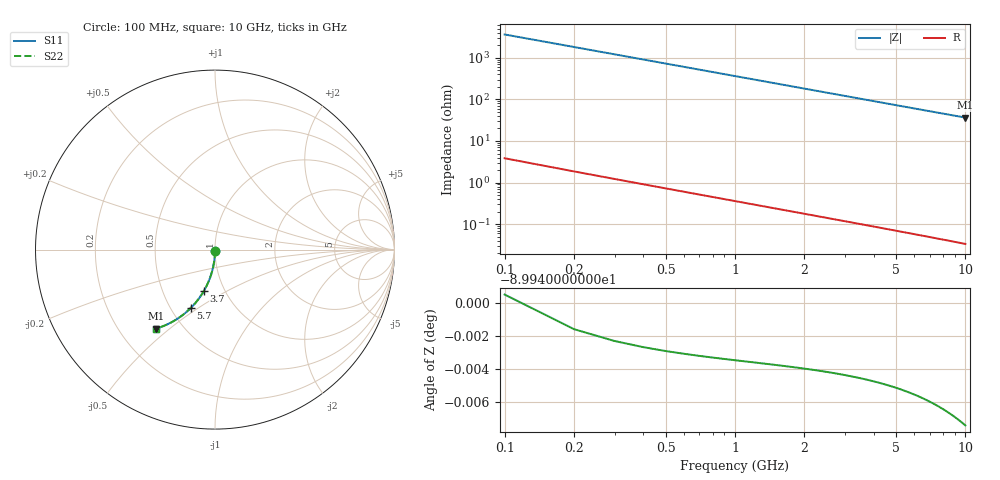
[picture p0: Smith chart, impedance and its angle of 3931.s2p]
# Hz S RI R 50.00
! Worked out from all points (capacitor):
!   100 points, 100 MHz to 10 GHz, reference 50 ohm
!   read as one part in shunt: C = 437 fF near 100 MHz
!   lowest |Z| = 36.5 ohm at 10 GHz (marker M1)
!   S11 on the Smith chart (normalised r, x): 100 MHz: 1.00, -0.01; 3.7 GHz: 0.80, -0.39; 5.7 GHz: 0.63, -0.47; 10 GHz: 0.36, -0.45
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1e8  4.88e-05 -0.00658  0.9998 -0.00715  0.9998 -0.00715  4.88e-05 -0.00658
2e8  -9.82e-05 -0.0132  0.9997 -0.0143  0.9997 -0.0143  -9.82e-05 -0.0132
3e8  -0.000339 -0.0197  0.9995 -0.0214  0.9995 -0.0214  -0.000339 -0.0197
4e8  -0.000674 -0.0263  0.9991 -0.0286  0.9991 -0.0286  -0.000674 -0.0263
5e8  -0.0011 -0.0328  0.9987 -0.0357  0.9987 -0.0357  -0.0011 -0.0328
6e8  -0.00163 -0.0394  0.9982 -0.0428  0.9982 -0.0428  -0.00163 -0.0394
8e8  -0.00295 -0.0525  0.9968 -0.057  0.9968 -0.057  -0.00295 -0.0525
9e8  -0.00375 -0.059  0.996 -0.0641  0.996 -0.0641  -0.00375 -0.059
1.1e9  -0.00563 -0.0719  0.9941 -0.0782  0.9941 -0.0782  -0.00563 -0.0719
1.4e9  -0.00913 -0.0913  0.9906 -0.0993  0.9906 -0.0993  -0.00913 -0.0913
1.8e9  -0.015 -0.1166  0.9847 -0.1269  0.9847 -0.1269  -0.015 -0.1166
2.1e9  -0.0204 -0.1353  0.9793 -0.1474  0.9793 -0.1474  -0.0204 -0.1353
2.5e9  -0.0287 -0.1598  0.971 -0.1741  0.971 -0.1741  -0.0287 -0.1598
2.9e9  -0.0383 -0.1835  0.9614 -0.2001  0.9614 -0.2001  -0.0383 -0.1835
3.4e9  -0.052 -0.2121  0.9476 -0.2316  0.9476 -0.2316  -0.052 -0.2121
3.7e9  -0.061 -0.2286  0.9386 -0.2499  0.9386 -0.2499  -0.061 -0.2286
4.4e9  -0.0843 -0.2651  0.9152 -0.2904  0.9152 -0.2904  -0.0843 -0.2651
5.1e9  -0.1103 -0.2985  0.889 -0.3278  0.889 -0.3278  -0.1103 -0.2985
5.7e9  -0.1343 -0.3245  0.8649 -0.3573  0.8649 -0.3573  -0.1343 -0.3245
6.7e9  -0.1771 -0.3623  0.822 -0.401  0.822 -0.401  -0.1771 -0.3623
8.4e9  -0.254 -0.4108  0.7446 -0.4596  0.7446 -0.4596  -0.254 -0.4108
1e10  -0.3269 -0.4397  0.6711 -0.4981  0.6711 -0.4981  -0.3269 -0.4397
